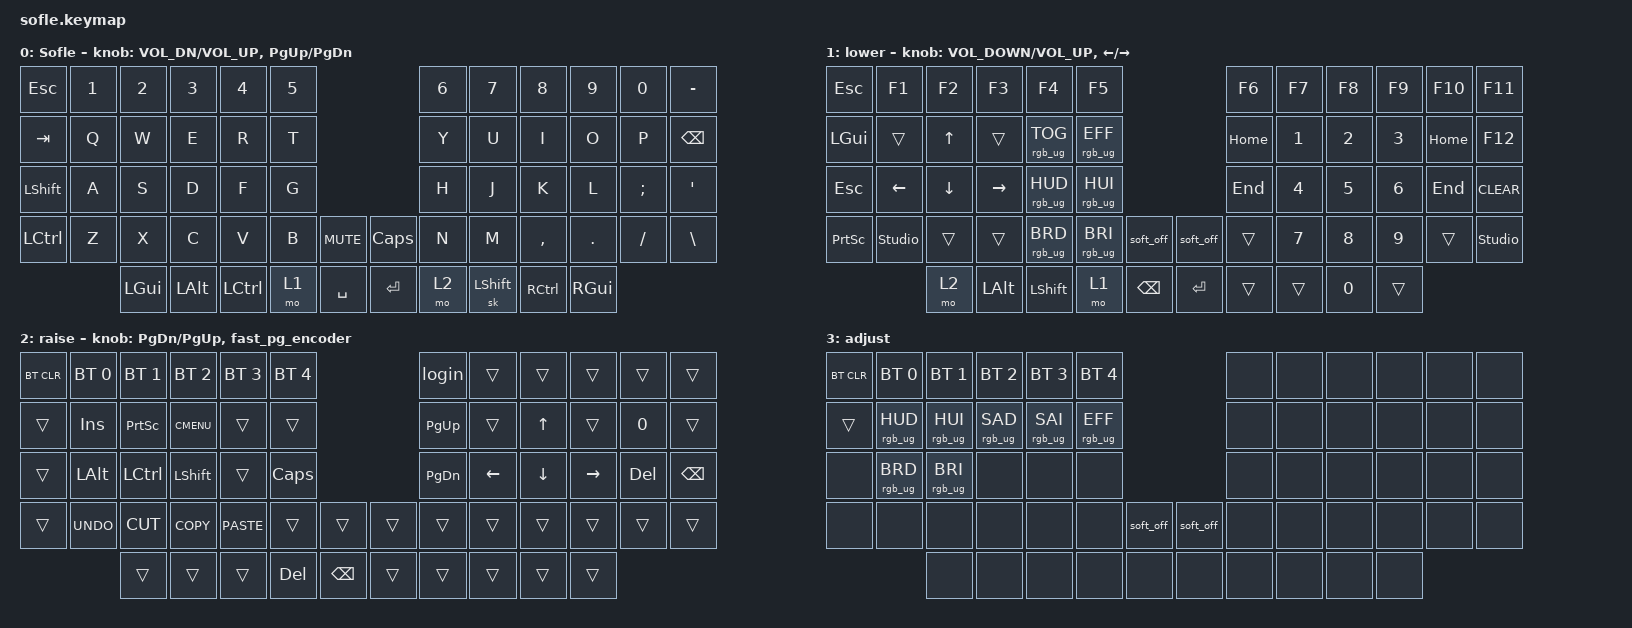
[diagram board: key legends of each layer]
//
// Copyright (c) 2024 The ZMK Contributors
//
// SPDX-License-Identifier: MIT

#include <behaviors.dtsi>
#include <dt-bindings/zmk/bt.h>
#include <dt-bindings/zmk/keys.h>
#include <dt-bindings/zmk/rgb.h>

/ {
    behaviors {
        // Fast page scrolling encoder behavior - sends 20 page commands per rotation (inverted)

        fast_pg_encoder: fast_pg_encoder {
            compatible = "zmk,behavior-sensor-rotate";
            #sensor-binding-cells = <0>;
            bindings = <&fast_pg_dn>, <&fast_pg_up>;

            // Inverted: CW = down, CCW = up
        };

        // Fast page up macro - sends 20 PG_UP commands

        fast_pg_up: fast_pg_up {
            compatible = "zmk,behavior-macro";
            #binding-cells = <0>;
            bindings = <&kp PG_UP &kp PG_UP &kp PG_UP &kp PG_UP &kp PG_UP &kp PG_UP &kp PG_UP &kp PG_UP &kp PG_UP &kp PG_UP &kp PG_UP &kp PG_UP &kp PG_UP &kp PG_UP &kp PG_UP &kp PG_UP &kp PG_UP &kp PG_UP &kp PG_UP &kp PG_UP>;
        };

        // Fast page down macro - sends 20 PG_DN commands

        fast_pg_dn: fast_pg_dn {
            compatible = "zmk,behavior-macro";
            #binding-cells = <0>;
            bindings = <&kp PG_DN &kp PG_DN &kp PG_DN &kp PG_DN &kp PG_DN &kp PG_DN &kp PG_DN &kp PG_DN &kp PG_DN &kp PG_DN &kp PG_DN &kp PG_DN &kp PG_DN &kp PG_DN &kp PG_DN &kp PG_DN &kp PG_DN &kp PG_DN &kp PG_DN &kp PG_DN>;
        };

        login: new_macro {
            compatible = "zmk,behavior-macro";
            #binding-cells = <0>;
            bindings = <&none &kp LS(D) &kp I &kp E &kp L &kp S &kp A &kp L &kp D &kp E &kp R &kp N6 &kp N9 &kp EXCL>;
            label = "NEW_MACRO";
        };
    };
};

// Soft Off: used on the encoder push-buttons on LOWER and ADJUST only.
// A short press is sufficient. Soft Off is exited using the physical reset
// button on each half of the split keyboard.
&soft_off {
    hold-time-ms = <0>;
};

#

#define BASE 0
#define LOWER 1
#define RAISE 2
#define ADJUST 3

/ {
    // Activate ADJUST layer by pressing raise and lower

    conditional_layers {
        compatible = "zmk,conditional-layers";

        adjust_layer {
            if-layers = <1 2>;
            then-layer = <3>;
        };
    };

    macros {
    };

    combos {
        compatible = "zmk,combos";

        plus {
            bindings = <&kp EQUAL>;
            key-positions = <22 23>;
        };
    };

    keymap {
        compatible = "zmk,keymap";

        default_layer {
            display-name = "Sofle";

            // ------------------------------------------------------------------------------------------------------------
            // |  ESC  |  1!  |  2@  |  3#  |  4$  |  5%  |                   |  6^  |  7&   |  8*   |  9(  |   0)  |   -_  |
            // |  TAB  |  Q   |  W   |  E   |  R   |  T   |                   |  Y   |  U    |  I    |  O   |   P   | BKSPC |
            // | SHIFT |  A   |  S   |  D   |  F   |  G   |                   |  H   |  J    |  K    |  L   |   ;:  |   '"  |
            // | CTRL  |  Z   |  X   |  C   |  V   |  B   |  MUTE  |  | PLAY  |  N   |  M    |  ,<   |  .>  |   /?  |   \|  |
            //                | GUI  | ALT  | CTRL | LOWER|  SPACE |  | ENTER | RAISE|  ALT  | CTRL  | GUI  |

            bindings = <
&kp ESC    &kp N1  &kp N2    &kp N3    &kp N4            &kp N5                              &kp N6  &kp N7      &kp N8     &kp N9    &kp N0     &kp MINUS
&kp TAB    &kp Q   &kp W     &kp E     &kp R             &kp T                               &kp Y   &kp U       &kp I      &kp O     &kp P      &kp BSPC
&kp LSHFT  &kp A   &kp S     &kp D     &kp F             &kp G                               &kp H   &kp J       &kp K      &kp L     &kp SEMI   &kp SQT
&kp LCTRL  &kp Z   &kp X     &kp C     &kp V             &kp B   &kp C_MUTE    &kp CAPSLOCK  &kp N   &kp M       &kp COMMA  &kp DOT   &kp SLASH  &kp BSLH
                   &kp LGUI  &kp LALT  &kp LEFT_CONTROL  &mo 1   &kp SPACE     &kp ENTER     &mo 2   &sk LSHIFT  &kp RCTRL  &kp RGUI
            >;

            sensor-bindings =
                <&inc_dec_kp C_VOL_DN C_VOLUME_UP>,
                <&inc_dec_kp PAGE_UP PAGE_DOWN>;
        };

        lower_layer {
            display-name = "lower";

            // TODO: Some binds are waiting for shifted keycode support.
            // ------------------------------------------------------------------------------------------------------------
            // |  F1   |  F2 |  F3 |  F4  |  F5  |  F6  |                   |  F7  |  F8   |  F9   |  F10 |  F11  |  F12  |
            // | LGUI  |     | up  |      | RGB  |modRGB|                   |      |  1    |  2    |  3   |  PGUP |  PGDN |
            // | ESC   |  L  | dn  |  R   | hue- | hue+ |                   |      |  4    |  5    |  6   |  HOME |  END  |
            // | PSCRN |ZMKST|     |      | Bri- | Bri+ |        |  |       |      |  7    |  8    |  9   |       |ZMKSTUD|
            //               | mo2 | alt  | SHF  | DEL  |  BSPC  |  | ENTER | SPACE|       |  0    |      |

            bindings = <
&kp ESC    &kp F1          &kp F2    &kp F3     &kp F4           &kp F5                                         &kp F6    &kp F7  &kp F8  &kp F9  &kp F10   &kp F11
&kp LGUI   &trans          &kp UP    &trans     &rgb_ug RGB_TOG  &rgb_ug RGB_EFF                                &kp HOME  &kp N1  &kp N2  &kp N3  &kp HOME  &kp F12
&kp ESC    &kp LEFT        &kp DOWN  &kp RIGHT  &rgb_ug RGB_HUD  &rgb_ug RGB_HUI                                &kp END   &kp N4  &kp N5  &kp N6  &kp END   &kp CLEAR
&kp PSCRN  &studio_unlock  &trans    &trans     &rgb_ug RGB_BRD  &rgb_ug RGB_BRI  &soft_off   &soft_off        &trans    &kp N7  &kp N8  &kp N9  &trans    &studio_unlock
                           &mo 2     &kp LALT   &kp LSHFT        &mo 1            &kp BSPC    &kp ENTER         &trans    &trans  &kp N0  &trans
            >;

            sensor-bindings =
                <&inc_dec_kp C_VOLUME_DOWN C_VOLUME_UP>,
                <&inc_dec_kp LEFT RIGHT>;
        };

        raise_layer {
            display-name = "raise";

            // ------------------------------------------------------------------------------------------------------------
            // | BTCLR | BT1  | BT2  |  BT3  |  BT4  |  BT5 |                |      |      |       |      |       |       |
            // |       | INS  | PSCR | GUI   |       |      |                | PGUP |      |   ^   |      |       |       |
            // |       | ALT  | CTRL | SHIFT |       | CAPS |                | PGDN |   <- |   v   |  ->  |  DEL  | BKSPC |
            // |       | UNDO | CUT  | COPY  | PASTE |      |      |  |      |      |      |       |      |       |       |
            //                |      |       |       |      |      |  |      |      |      |       |      |

            bindings = <
&bt BT_CLR  &bt BT_SEL 0  &bt BT_SEL 1  &bt BT_SEL 2  &bt BT_SEL 3  &bt BT_SEL 4                           &login     &trans    &trans    &trans     &trans   &trans
&trans      &kp INS       &kp PSCRN     &kp K_CMENU   &trans        &trans                                 &kp PG_UP  &trans    &kp UP    &trans     &kp N0   &trans
&trans      &kp LALT      &kp LCTRL     &kp LSHFT     &trans        &kp CLCK                               &kp PG_DN  &kp LEFT  &kp DOWN  &kp RIGHT  &kp DEL  &kp BSPC
&trans      &kp K_UNDO    &kp K_CUT     &kp K_COPY    &kp K_PASTE   &trans        &trans           &trans  &trans     &trans    &trans    &trans     &trans   &trans
                          &trans        &trans        &trans        &kp DELETE    &kp BACKSPACE    &trans  &trans     &trans    &trans    &trans
            >;

            sensor-bindings = <&inc_dec_kp PG_DN PG_UP &fast_pg_encoder>;
        };

        adjust_layer {
            // ----------------------------------------------------------------------------------------------------------------------------
            // | BTCLR  |  BT1    |  BT2    |   BT3   |   BT4   |   BT5   |                  |      |      |       |      |       |       |
            // |        | RGB_HUD | RGB_HUI | RGB_SAD | RGB_SAI | RGB_EFF |                  |      |      |       |      |       |       |
            // |        | RGB_BRD | RGB_BRI |         |         |         |                  |      |      |       |      |       |       |
            // |        |         |         |         |         |         | RGB_TOG | |      |      |      |       |      |       |       |
            //                    |         |         |         |         |         | |      |      |      |       |      |

            display-name = "adjust";
            bindings = <
&bt BT_CLR  &bt BT_SEL 0     &bt BT_SEL 1     &bt BT_SEL 2     &bt BT_SEL 3     &bt BT_SEL 4                               &none  &none  &none  &none  &none  &none
&trans      &rgb_ug RGB_HUD  &rgb_ug RGB_HUI  &rgb_ug RGB_SAD  &rgb_ug RGB_SAI  &rgb_ug RGB_EFF                            &none  &none  &none  &none  &none  &none
&none       &rgb_ug RGB_BRD  &rgb_ug RGB_BRI  &none            &none            &none                                      &none  &none  &none  &none  &none  &none
&none       &none            &none            &none            &none            &none            &soft_off        &soft_off  &none  &none  &none  &none  &none  &none
                             &none            &none            &none            &none            &none              &none  &none  &none  &none  &none
            >;
        };
    };
};


// Do not allow the Sofle key matrix (including encoder push switches) to wake
// the keyboard from Soft Off. The physical RESET button is the wake source.
&kscan0 {
    /delete-property/ wakeup-source;
};
